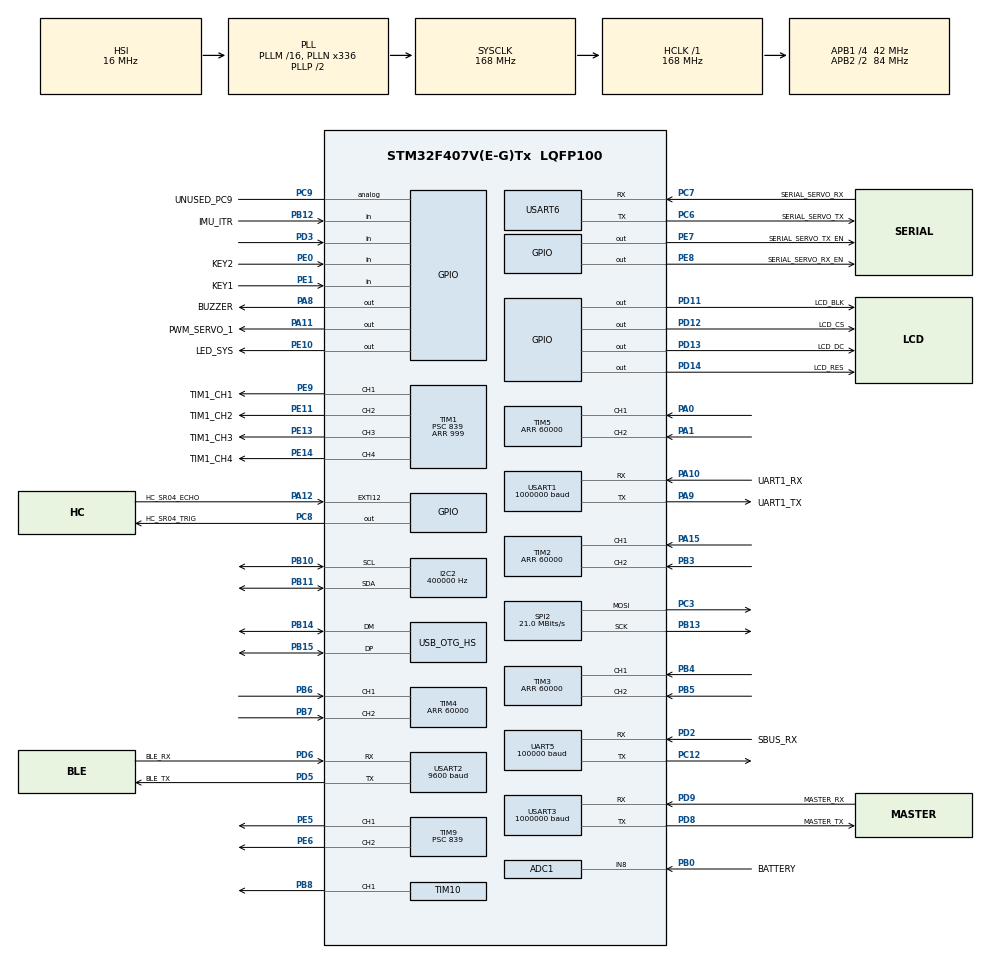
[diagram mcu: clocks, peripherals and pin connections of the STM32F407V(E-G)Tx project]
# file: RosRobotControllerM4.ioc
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ADC1.Channel-4\#ChannelRegularConversion=ADC_CHANNEL_VREFINT
ADC1.Channel-5\#ChannelRegularConversion=ADC_CHANNEL_8
ADC1.ClockPrescaler=ADC_CLOCK_SYNC_PCLK_DIV8
ADC1.ContinuousConvMode=DISABLE
ADC1.EOCSelection=ADC_EOC_SEQ_CONV
ADC1.NbrOfConversion=2
ADC1.NbrOfConversionFlag=1
ADC1.Rank-4\#ChannelRegularConversion=1
ADC1.Rank-5\#ChannelRegularConversion=2
ADC1.SamplingTime-4\#ChannelRegularConversion=ADC_SAMPLETIME_480CYCLES
ADC1.SamplingTime-5\#ChannelRegularConversion=ADC_SAMPLETIME_480CYCLES
ADC1.master=1
Dma.ADC1.6.Direction=DMA_PERIPH_TO_MEMORY
Dma.ADC1.6.FIFOMode=DMA_FIFOMODE_DISABLE
Dma.ADC1.6.Instance=DMA2_Stream0
Dma.ADC1.6.MemDataAlignment=DMA_MDATAALIGN_HALFWORD
Dma.ADC1.6.MemInc=DMA_MINC_ENABLE
Dma.ADC1.6.Mode=DMA_CIRCULAR
Dma.ADC1.6.PeriphDataAlignment=DMA_PDATAALIGN_HALFWORD
Dma.ADC1.6.PeriphInc=DMA_PINC_DISABLE
Dma.ADC1.6.Priority=DMA_PRIORITY_LOW
Dma.I2C2_RX.0.Direction=DMA_PERIPH_TO_MEMORY
Dma.I2C2_RX.0.FIFOMode=DMA_FIFOMODE_DISABLE
Dma.I2C2_RX.0.Instance=DMA1_Stream2
Dma.I2C2_RX.0.MemDataAlignment=DMA_MDATAALIGN_BYTE
Dma.I2C2_RX.0.MemInc=DMA_MINC_ENABLE
Dma.I2C2_RX.0.Mode=DMA_NORMAL
Dma.I2C2_RX.0.PeriphDataAlignment=DMA_PDATAALIGN_BYTE
Dma.I2C2_RX.0.PeriphInc=DMA_PINC_DISABLE
Dma.I2C2_RX.0.Priority=DMA_PRIORITY_VERY_HIGH
Dma.I2C2_TX.1.Direction=DMA_MEMORY_TO_PERIPH
Dma.I2C2_TX.1.FIFOMode=DMA_FIFOMODE_DISABLE
Dma.I2C2_TX.1.Instance=DMA1_Stream7
Dma.I2C2_TX.1.MemDataAlignment=DMA_MDATAALIGN_BYTE
Dma.I2C2_TX.1.MemInc=DMA_MINC_ENABLE
Dma.I2C2_TX.1.Mode=DMA_NORMAL
Dma.I2C2_TX.1.PeriphDataAlignment=DMA_PDATAALIGN_BYTE
Dma.I2C2_TX.1.PeriphInc=DMA_PINC_DISABLE
Dma.I2C2_TX.1.Priority=DMA_PRIORITY_VERY_HIGH
Dma.Request0=I2C2_RX
Dma.Request1=I2C2_TX
Dma.Request2=UART5_RX
Dma.Request3=USART3_RX
Dma.Request4=USART3_TX
Dma.Request5=SPI2_TX
Dma.Request6=ADC1
Dma.Request7=USART1_RX
Dma.Request8=USART1_TX
Dma.SPI2_TX.5.Direction=DMA_MEMORY_TO_PERIPH
Dma.SPI2_TX.5.FIFOMode=DMA_FIFOMODE_DISABLE
Dma.SPI2_TX.5.Instance=DMA1_Stream4
Dma.SPI2_TX.5.MemDataAlignment=DMA_MDATAALIGN_BYTE
Dma.SPI2_TX.5.MemInc=DMA_MINC_ENABLE
Dma.SPI2_TX.5.Mode=DMA_NORMAL
Dma.SPI2_TX.5.PeriphDataAlignment=DMA_PDATAALIGN_BYTE
Dma.SPI2_TX.5.PeriphInc=DMA_PINC_DISABLE
Dma.SPI2_TX.5.Priority=DMA_PRIORITY_LOW
Dma.UART5_RX.2.Direction=DMA_PERIPH_TO_MEMORY
Dma.UART5_RX.2.FIFOMode=DMA_FIFOMODE_DISABLE
Dma.UART5_RX.2.Instance=DMA1_Stream0
Dma.UART5_RX.2.MemDataAlignment=DMA_MDATAALIGN_BYTE
Dma.UART5_RX.2.MemInc=DMA_MINC_ENABLE
Dma.UART5_RX.2.Mode=DMA_CIRCULAR
Dma.UART5_RX.2.PeriphDataAlignment=DMA_PDATAALIGN_BYTE
Dma.UART5_RX.2.PeriphInc=DMA_PINC_DISABLE
Dma.UART5_RX.2.Priority=DMA_PRIORITY_MEDIUM
Dma.USART1_RX.7.Direction=DMA_PERIPH_TO_MEMORY
Dma.USART1_RX.7.FIFOMode=DMA_FIFOMODE_DISABLE
Dma.USART1_RX.7.Instance=DMA2_Stream2
Dma.USART1_RX.7.MemDataAlignment=DMA_MDATAALIGN_BYTE
Dma.USART1_RX.7.MemInc=DMA_MINC_ENABLE
Dma.USART1_RX.7.Mode=DMA_CIRCULAR
Dma.USART1_RX.7.PeriphDataAlignment=DMA_PDATAALIGN_BYTE
Dma.USART1_RX.7.PeriphInc=DMA_PINC_DISABLE
Dma.USART1_RX.7.Priority=DMA_PRIORITY_VERY_HIGH
Dma.USART1_TX.8.Direction=DMA_MEMORY_TO_PERIPH
Dma.USART1_TX.8.FIFOMode=DMA_FIFOMODE_DISABLE
Dma.USART1_TX.8.Instance=DMA2_Stream7
Dma.USART1_TX.8.MemDataAlignment=DMA_MDATAALIGN_BYTE
Dma.USART1_TX.8.MemInc=DMA_MINC_ENABLE
Dma.USART1_TX.8.Mode=DMA_NORMAL
Dma.USART1_TX.8.PeriphDataAlignment=DMA_PDATAALIGN_BYTE
Dma.USART1_TX.8.PeriphInc=DMA_PINC_DISABLE
Dma.USART1_TX.8.Priority=DMA_PRIORITY_HIGH
Dma.USART3_RX.3.Direction=DMA_PERIPH_TO_MEMORY
Dma.USART3_RX.3.FIFOMode=DMA_FIFOMODE_DISABLE
Dma.USART3_RX.3.Instance=DMA1_Stream1
Dma.USART3_RX.3.MemDataAlignment=DMA_MDATAALIGN_BYTE
Dma.USART3_RX.3.MemInc=DMA_MINC_ENABLE
Dma.USART3_RX.3.Mode=DMA_CIRCULAR
Dma.USART3_RX.3.PeriphDataAlignment=DMA_PDATAALIGN_BYTE
Dma.USART3_RX.3.PeriphInc=DMA_PINC_DISABLE
Dma.USART3_RX.3.Priority=DMA_PRIORITY_HIGH
Dma.USART3_TX.4.Direction=DMA_MEMORY_TO_PERIPH
Dma.USART3_TX.4.FIFOMode=DMA_FIFOMODE_DISABLE
Dma.USART3_TX.4.Instance=DMA1_Stream3
Dma.USART3_TX.4.MemDataAlignment=DMA_MDATAALIGN_BYTE
Dma.USART3_TX.4.MemInc=DMA_MINC_ENABLE
Dma.USART3_TX.4.Mode=DMA_NORMAL
Dma.USART3_TX.4.PeriphDataAlignment=DMA_PDATAALIGN_BYTE
Dma.USART3_TX.4.PeriphInc=DMA_PINC_DISABLE
Dma.USART3_TX.4.Priority=DMA_PRIORITY_HIGH
FREERTOS.BinarySemaphores01=packet_tx_idle,Static,packet_tx_ControlBlock;packet_rx_not_empty,Static,packet_rx_not_emptyControlBlock;imu_data_ready,Static,imu_data_readyControlBlock;sbus_data_ready_01_,Static,sbus_data_ready_01_ControlBlock;spi_tx_finished,Static,spi_tx_finishedControlBlock;bluetooth_tx_idle,Static,bluetooth_tx_idleControlBlock
FREERTOS.Events01=sbus_data_ready_event_,Static,sbus_data_ready_event_ControlBlock
FREERTOS.INCLUDE_vTaskCleanUpResources=1
FREERTOS.INCLUDE_xEventGroupSetBitFromISR=1
FREERTOS.Queues01=packet_tx_queue,64,void*,0,Static,packet_tx_queueBuffer,packet_tx_queueControlBlock;lvgl_event_queue,16,void*,0,Static,lvgl_event_queueBuffer,lvgl_event_queueControlBlock;moving_ctrl_queue,32,char,0,Static,moving_ctrl_queueBuffer,moving_ctrl_queueControlBlock;bluetooth_tx_queue,8,8,1,Static,bluetooth_tx_queueBuffer,bluetooth_tx_queueControlBlock
FREERTOS.Tasks01=defaultTask,8,128,StartDefaultTask,Default,NULL,Static,defaultTaskBuffer,defaultTaskControlBlock;imu_task,32,128,imu_task_entry,As weak,NULL,Static,imu_taskBuffer,imu_taskControlBlock;packet_tx_task,24,128,packet_tx_task_entry,As weak,NULL,Static,packet_tx_taskBuffer,packet_tx_taskControlBlock;packet_rx_task,24,256,packet_rx_task_entry,As weak,NULL,Static,packet_rx_taskBuffer,packet_rx_taskControlBlock;sbus_rx_task,24,128,sbus_rx_task_entry,As weak,NULL,Static,sbus_rx_taskBuffer,sbus_rx_taskControlBlock;gui_task,16,512,gui_task_entry,As weak,NULL,Static,gui_taskBuffer,gui_taskControlBlock;app_task,24,512,app_task_entry,As weak,NULL,Static,app_taskBuffer,app_taskControlBlock;bluetooth_task,24,128,bluetooth_task_entry,As weak,NULL,Static,bluetooth_taskBuffer,bluetooth_taskControlBlock
FREERTOS.Timers01=button_timer,button_timer_callback,osTimerPeriodic,As weak,NULL,Static,button_timerControlBlock;led_timer,led_timer_callback,osTimerPeriodic,As weak,NULL,Static,led_timerControlBlock;lvgl_timer,lvgl_timer_callback,osTimerPeriodic,As weak,NULL,Static,lvgl_timerControlBlock;buzzer_timer,buzzer_timer_callback,osTimerPeriodic,As weak,NULL,Static,buzzer_timerControlBlock;battery_check_timer,battery_check_timer_callback,osTimerPeriodic,As weak,NULL,Static,battery_check_timerControlBlock;IMU_read_timer,IMU_read_timer_callback,osTimerPeriodic,As weak,NULL,Static,IMU_read_timerControlBlock
FREERTOS.configENABLE_FPU=1
FREERTOS.configTIMER_QUEUE_LENGTH=10
FREERTOS.configTIMER_TASK_STACK_DEPTH=6144
FREERTOS.configTOTAL_HEAP_SIZE=12288
FREERTOS.configUSE_IDLE_HOOK=1
FREERTOS.configUSE_NEWLIB_REENTRANT=0
FREERTOS.configUSE_TICK_HOOK=1
I2C2.DutyCycle=I2C_DUTYCYCLE_2
I2C2.I2C_Mode=I2C_Fast
I2C2.ClockSpeed=400000
Mcu.Family=STM32F4
Mcu.Name=STM32F407V(E-G)Tx
Mcu.Package=LQFP100
NVIC.DMA1_Stream0_IRQn=true\:5\:0\:false\:true\:true\:1\:true\:false\:true\:true
NVIC.DMA1_Stream1_IRQn=true\:5\:0\:false\:true\:true\:2\:true\:false\:true\:true
NVIC.DMA1_Stream2_IRQn=true\:5\:0\:false\:true\:true\:3\:true\:false\:true\:true
NVIC.DMA1_Stream3_IRQn=true\:5\:0\:false\:true\:true\:4\:true\:false\:true\:true
NVIC.DMA1_Stream4_IRQn=true\:5\:0\:false\:false\:true\:true\:true\:true\:true
NVIC.DMA1_Stream7_IRQn=true\:5\:0\:false\:true\:true\:9\:true\:false\:true\:true
NVIC.DMA2_Stream2_IRQn=true\:5\:0\:false\:false\:true\:true\:true\:true\:true
NVIC.DMA2_Stream7_IRQn=true\:5\:0\:false\:false\:true\:true\:true\:true\:true
NVIC.EXTI15_10_IRQn=true\:5\:0\:false\:true\:true\:7\:true\:true\:false\:true
NVIC.OTG_HS_IRQn=true\:5\:0\:false\:false\:true\:true\:false\:true\:true
NVIC.PriorityGroup=NVIC_PRIORITYGROUP_4
NVIC.TIM2_IRQn=true\:5\:0\:false\:false\:true\:true\:true\:false\:true
NVIC.TIM3_IRQn=true\:5\:0\:false\:false\:true\:true\:true\:false\:true
NVIC.TIM4_IRQn=true\:5\:0\:false\:false\:true\:true\:true\:false\:true
NVIC.TIM5_IRQn=true\:5\:0\:false\:true\:true\:10\:true\:true\:false\:true
NVIC.TIM7_IRQn=true\:5\:0\:false\:true\:true\:12\:true\:true\:false\:true
NVIC.TIM8_BRK_TIM12_IRQn=true\:5\:0\:false\:false\:true\:true\:true\:false\:true
NVIC.TIM1_TRG_COM_TIM11_IRQn=true\:5\:0\:false\:false\:true\:true\:true\:true\:true
NVIC.TIM8_TRG_COM_TIM14_IRQn=true\:15\:0\:false\:false\:true\:false\:false\:true\:true
NVIC.TIM8_UP_TIM13_IRQn=true\:5\:0\:false\:true\:true\:8\:true\:true\:false\:true
NVIC.TimeBase=TIM8_TRG_COM_TIM14_IRQn
NVIC.TimeBaseIP=TIM14
NVIC.UART5_IRQn=true\:5\:0\:true\:true\:true\:11\:true\:true\:true\:true
NVIC.USART1_IRQn=true\:5\:0\:false\:false\:true\:true\:true\:true\:true
NVIC.USART3_IRQn=true\:5\:0\:false\:true\:true\:6\:true\:true\:true\:true
NVIC.USART6_IRQn=true\:5\:0\:false\:true\:true\:13\:true\:true\:true\:true
PA0-WKUP.GPIO_PuPd=GPIO_PULLUP
PA0-WKUP.GPIO_Speed=GPIO_SPEED_FREQ_VERY_HIGH
PA0-WKUP.Signal=S_TIM5_CH1
PA1.GPIO_PuPd=GPIO_PULLUP
PA1.GPIO_Speed=GPIO_SPEED_FREQ_VERY_HIGH
PA1.Signal=S_TIM5_CH2
PA10.GPIO_Label=UART1_RX
PA10.Mode=Asynchronous
PA10.Signal=USART1_RX
PA11.GPIO_Label=PWM_SERVO_1
PA11.GPIO_Speed=GPIO_SPEED_FREQ_HIGH
PA11.PinState=GPIO_PIN_RESET
PA11.Signal=GPIO_Output
PA12.GPIO_Label=HC_SR04_ECHO
PA12.GPIO_ModeDefault=GPIO_MODE_IT_RISING_FALLING
PA12.GPIO_PuPd=GPIO_NOPULL
PA12.GPIO_Speed=GPIO_SPEED_FREQ_HIGH
PA12.Signal=GPIO_EXTI12
PA13.Signal=SYS_JTMS-SWDIO
PA14.Signal=SYS_JTCK-SWCLK
PA15.GPIO_PuPd=GPIO_PULLUP
PA15.GPIO_Speed=GPIO_SPEED_FREQ_VERY_HIGH
PA15.Signal=S_TIM2_CH1_ETR
PA8.GPIO_Label=BUZZER
PA8.GPIO_Speed=GPIO_SPEED_FREQ_VERY_HIGH
PA8.PinState=GPIO_PIN_RESET
PA8.Signal=GPIO_Output
PA9.GPIO_Label=UART1_TX
PA9.Mode=Asynchronous
PA9.Signal=USART1_TX
PB0.GPIO_Label=BATTERY
PB0.Signal=ADCx_IN8
PB10.GPIO_Pu=GPIO_PULLUP
PB10.Mode=I2C
PB10.Signal=I2C2_SCL
PB11.GPIO_Pu=GPIO_PULLUP
PB11.Mode=I2C
PB11.Signal=I2C2_SDA
PB12.GPIO_Label=IMU_ITR
PB12.Signal=GPIO_Input
PB13.Mode=TX_Only_Simplex_Unidirect_Master
PB13.Signal=SPI2_SCK
PB14.Mode=Host_FS
PB14.Signal=USB_OTG_HS_DM
PB15.Mode=Host_FS
PB15.Signal=USB_OTG_HS_DP
PB3.GPIO_PuPd=GPIO_PULLUP
PB3.GPIO_Speed=GPIO_SPEED_FREQ_VERY_HIGH
PB3.Signal=S_TIM2_CH2
PB4.GPIO_Speed=GPIO_SPEED_FREQ_VERY_HIGH
PB4.Signal=S_TIM3_CH1
PB5.GPIO_Speed=GPIO_SPEED_FREQ_VERY_HIGH
PB5.Signal=S_TIM3_CH2
PB6.Signal=S_TIM4_CH1
PB7.Signal=S_TIM4_CH2
PB8.Signal=S_TIM10_CH1
PC12.Mode=Asynchronous
PC12.Signal=UART5_TX
PC3.Mode=TX_Only_Simplex_Unidirect_Master
PC3.Signal=SPI2_MOSI
PC6.GPIO_Label=SERIAL_SERVO_TX
PC6.Mode=Asynchronous
PC6.Signal=USART6_TX
PC7.GPIO_Label=SERIAL_SERVO_RX
PC7.Mode=Asynchronous
PC7.Signal=USART6_RX
PC8.GPIO_Label=HC_SR04_TRIG
PC8.GPIO_Speed=GPIO_SPEED_FREQ_HIGH
PC8.PinState=GPIO_PIN_RESET
PC8.Signal=GPIO_Output
PC9.GPIO_Label=UNUSED_PC9
PC9.Signal=GPIO_Analog
PD11.GPIO_Label=LCD_BLK
PD11.GPIO_Speed=GPIO_SPEED_FREQ_VERY_HIGH
PD11.PinState=GPIO_PIN_SET
PD11.Signal=GPIO_Output
PD12.GPIO_Label=LCD_CS
PD12.GPIO_Speed=GPIO_SPEED_FREQ_VERY_HIGH
PD12.PinState=GPIO_PIN_SET
PD12.Signal=GPIO_Output
PD13.GPIO_Label=LCD_DC
PD13.GPIO_Speed=GPIO_SPEED_FREQ_VERY_HIGH
PD13.Signal=GPIO_Output
PD14.GPIO_Label=LCD_RES
PD14.GPIO_Speed=GPIO_SPEED_FREQ_VERY_HIGH
PD14.PinState=GPIO_PIN_SET
PD14.Signal=GPIO_Output
PD2.GPIO_Label=SBUS_RX
PD2.Mode=Asynchronous
PD2.Signal=UART5_RX
PD3.Signal=GPIO_Input
PD5.GPIO_Label=BLE_TX
PD5.Mode=Asynchronous
PD5.Signal=USART2_TX
PD6.GPIO_Label=BLE_RX
PD6.Mode=Asynchronous
PD6.Signal=USART2_RX
PD8.GPIO_Label=MASTER_TX
PD8.GPIO_PuPd=GPIO_NOPULL
PD8.Mode=Asynchronous
PD8.Signal=USART3_TX
PD9.GPIO_Label=MASTER_RX
PD9.GPIO_PuPd=GPIO_NOPULL
PD9.Mode=Asynchronous
PD9.Signal=USART3_RX
PE0.GPIO_Label=KEY2
PE0.Signal=GPIO_Input
PE1.GPIO_Label=KEY1
PE1.Signal=GPIO_Input
PE10.GPIO_Label=LED_SYS
PE10.GPIO_Speed=GPIO_SPEED_FREQ_MEDIUM
PE10.PinState=GPIO_PIN_SET
PE10.Signal=GPIO_Output
PE11.GPIO_Label=TIM1_CH2
PE11.GPIO_Speed=GPIO_SPEED_FREQ_HIGH
PE11.Signal=S_TIM1_CH2
PE13.GPIO_Label=TIM1_CH3
PE13.GPIO_Speed=GPIO_SPEED_FREQ_HIGH
PE13.Signal=S_TIM1_CH3
PE14.GPIO_Label=TIM1_CH4
PE14.GPIO_Speed=GPIO_SPEED_FREQ_HIGH
PE14.Signal=S_TIM1_CH4
PE5.Signal=S_TIM9_CH1
PE6.Signal=S_TIM9_CH2
PE7.GPIO_Label=SERIAL_SERVO_TX_EN
PE7.GPIO_Speed=GPIO_SPEED_FREQ_VERY_HIGH
PE7.Signal=GPIO_Output
PE8.GPIO_Label=SERIAL_SERVO_RX_EN
PE8.GPIO_Speed=GPIO_SPEED_FREQ_VERY_HIGH
PE8.Signal=GPIO_Output
PE9.GPIO_Label=TIM1_CH1
PE9.GPIO_Speed=GPIO_SPEED_FREQ_HIGH
PE9.Signal=S_TIM1_CH1
PH0-OSC_IN.Mode=HSE-External-Oscillator
PH0-OSC_IN.Signal=RCC_OSC_IN
PH1-OSC_OUT.Mode=HSE-External-Oscillator
PH1-OSC_OUT.Signal=RCC_OSC_OUT
ProjectManager.HeapSize=0x200
ProjectManager.StackSize=0x600
ProjectManager.TargetToolchain=CMake
RCC.48MHZClocksFreq_Value=48000000
RCC.AHBFreq_Value=168000000
RCC.APB1CLKDivider=RCC_HCLK_DIV4
RCC.APB1Freq_Value=42000000
RCC.APB1TimFreq_Value=84000000
RCC.APB2CLKDivider=RCC_HCLK_DIV2
RCC.APB2Freq_Value=84000000
RCC.APB2TimFreq_Value=168000000
RCC.CortexFreq_Value=168000000
RCC.EnbaleCSS=true
RCC.HCLKFreq_Value=168000000
RCC.HSE_VALUE=8000000
RCC.HSI_VALUE=16000000
RCC.LSE_VALUE=32768
RCC.PLLM=4
RCC.PLLN=168
RCC.PLLQ=7
RCC.SYSCLKFreq_VALUE=168000000
RCC.SYSCLKSource=RCC_SYSCLKSOURCE_PLLCLK
RCC.VCOOutputFreq_Value=336000000
SH.ADCx_IN8.0=ADC1_IN8,IN8
SH.S_TIM10_CH1.0=TIM10_CH1,PWM Generation1 CH1
SH.S_TIM1_CH1.0=TIM1_CH1,PWM Generation1 CH1
SH.S_TIM1_CH2.0=TIM1_CH2,PWM Generation2 CH2
SH.S_TIM1_CH3.0=TIM1_CH3,PWM Generation3 CH3
SH.S_TIM1_CH4.0=TIM1_CH4,PWM Generation4 CH4
SH.S_TIM2_CH1_ETR.0=TIM2_CH1,Encoder_Interface
SH.S_TIM2_CH2.0=TIM2_CH2,Encoder_Interface
SH.S_TIM3_CH1.0=TIM3_CH1,Encoder_Interface
SH.S_TIM3_CH2.0=TIM3_CH2,Encoder_Interface
SH.S_TIM4_CH1.0=TIM4_CH1,Encoder_Interface
SH.S_TIM4_CH2.0=TIM4_CH2,Encoder_Interface
SH.S_TIM5_CH1.0=TIM5_CH1,Encoder_Interface
SH.S_TIM5_CH2.0=TIM5_CH2,Encoder_Interface
SH.S_TIM9_CH1.0=TIM9_CH1,PWM Generation1 CH1
SH.S_TIM9_CH2.0=TIM9_CH2,PWM Generation2 CH2
SPI2.BaudRatePrescaler=SPI_BAUDRATEPRESCALER_2
SPI2.CLKPhase=SPI_PHASE_1EDGE
SPI2.CLKPolarity=SPI_POLARITY_LOW
SPI2.CalculateBaudRate=21.0 MBits/s
SPI2.DataSize=SPI_DATASIZE_8BIT
SPI2.Direction=SPI_DIRECTION_2LINES
SPI2.FirstBit=SPI_FIRSTBIT_MSB
SPI2.Mode=SPI_MODE_MASTER
SPI2.VirtualType=VM_MASTER
TIM1.AutoReloadPreload=TIM_AUTORELOAD_PRELOAD_ENABLE
TIM1.Channel-PWM\ Generation1\ CH1=TIM_CHANNEL_1
TIM1.Channel-PWM\ Generation2\ CH2=TIM_CHANNEL_2
TIM1.Channel-PWM\ Generation3\ CH3=TIM_CHANNEL_3
TIM1.Channel-PWM\ Generation4\ CH4=TIM_CHANNEL_4
TIM1.OCFastMode_PWM-PWM\ Generation1\ CH1=TIM_OCFAST_ENABLE
TIM1.OCFastMode_PWM-PWM\ Generation2\ CH2=TIM_OCFAST_ENABLE
TIM1.OCFastMode_PWM-PWM\ Generation3\ CH3=TIM_OCFAST_ENABLE
TIM1.OCFastMode_PWM-PWM\ Generation4\ CH4=TIM_OCFAST_ENABLE
TIM1.Period=999
TIM1.Prescaler=839
TIM1.Pulse-PWM\ Generation1\ CH1=0
TIM1.Pulse-PWM\ Generation2\ CH2=0
TIM1.Pulse-PWM\ Generation3\ CH3=0
TIM1.Pulse-PWM\ Generation4\ CH4=0
TIM10.AutoReloadPreload=TIM_AUTORELOAD_PRELOAD_ENABLE
TIM10.Channel=TIM_CHANNEL_1
TIM10.OCFastMode_PWM=TIM_OCFAST_ENABLE
TIM10.Period=999
TIM10.Prescaler=839
TIM11.AutoReloadPreload=TIM_AUTORELOAD_PRELOAD_ENABLE
TIM11.Channel=TIM_CHANNEL_1
TIM11.OCFastMode_PWM=TIM_OCFAST_ENABLE
TIM11.Period=999
TIM11.Prescaler=839
TIM11.Pulse=0
TIM12.AutoReloadPreload=TIM_AUTORELOAD_PRELOAD_ENABLE
TIM12.Channel-Output\ Compare1\ No\ Output=TIM_CHANNEL_1
TIM12.OC1Preload=ENABLE
TIM12.OCMode_1=TIM_OCMODE_TIMING
TIM12.Period=99
TIM12.Prescaler=839
TIM12.Pulse-Output\ Compare1\ No\ Output=50
TIM13.AutoReloadPreload=TIM_AUTORELOAD_PRELOAD_ENABLE
TIM13.Channel=TIM_CHANNEL_1
TIM13.OC1Preload=ENABLE
TIM13.Period=4999
TIM13.Prescaler=83
TIM13.Pulse=0
TIM2.AutoReloadPreload=TIM_AUTORELOAD_PRELOAD_ENABLE
TIM2.EncoderMode=TIM_ENCODERMODE_TI12
TIM2.Period=60000
TIM3.AutoReloadPreload=TIM_AUTORELOAD_PRELOAD_ENABLE
TIM3.EncoderMode=TIM_ENCODERMODE_TI12
TIM3.Period=60000
TIM4.AutoReloadPreload=TIM_AUTORELOAD_PRELOAD_ENABLE
TIM4.EncoderMode=TIM_ENCODERMODE_TI12
TIM4.Period=60000
TIM5.AutoReloadPreload=TIM_AUTORELOAD_PRELOAD_ENABLE
TIM5.EncoderMode=TIM_ENCODERMODE_TI12
TIM5.Period=60000
TIM7.AutoReloadPreload=TIM_AUTORELOAD_PRELOAD_ENABLE
TIM7.Period=9999
TIM7.Prescaler=83
TIM9.AutoReloadPreload=TIM_AUTORELOAD_PRELOAD_ENABLE
TIM9.Channel-PWM\ Generation1\ CH1=TIM_CHANNEL_1
TIM9.Channel-PWM\ Generation2\ CH2=TIM_CHANNEL_2
TIM9.OCFastMode_PWM-PWM\ Generation1\ CH1=TIM_OCFAST_ENABLE
TIM9.OCFastMode_PWM-PWM\ Generation2\ CH2=TIM_OCFAST_ENABLE
TIM9.Period=999
TIM9.Prescaler=839
UART5.BaudRate=100000
UART5.Mode=MODE_RX
UART5.Parity=PARITY_EVEN
UART5.StopBits=UART_STOPBITS_2
UART5.VirtualMode=Asynchronous
UART5.WordLength=WORDLENGTH_9B
USART1.BaudRate=1000000
USART1.VirtualMode=VM_ASYNC
USART2.BaudRate=9600
USART2.VirtualMode=VM_ASYNC
USART3.BaudRate=1000000
USART3.VirtualMode=VM_ASYNC
USART6.VirtualMode=VM_ASYNC
USB_DEVICE.CLASS_NAME_HS=CDC
USB_DEVICE.VirtualMode-CDC_HS=Cdc
USB_DEVICE.VirtualModeHS=Cdc_HS
USB_OTG_HS.VirtualMode-Device_Only_FS=Device_Only_FS
VP_ADC1_Vref_Input.Mode=IN-Vrefint
VP_CRC_VS_CRC.Mode=CRC_Activate
VP_FREERTOS_VS_CMSIS_V2.Mode=CMSIS_V2
VP_SYS_VS_tim14.Mode=TIM14
VP_TIM10_VS_ClockSourceINT.Mode=Enable_Timer
VP_TIM11_VS_ClockSourceINT.Mode=Enable_Timer
VP_TIM12_VS_ClockSourceINT.Mode=Internal
VP_TIM12_VS_no_output1.Mode=Output Compare1 No Output
VP_TIM13_VS_ClockSourceINT.Mode=Enable_Timer
VP_TIM13_VS_no_output1.Mode=Output Compare1 No Output
VP_TIM1_VS_ClockSourceINT.Mode=Internal
VP_TIM7_VS_ClockSourceINT.Mode=Enable_Timer
VP_TIM9_VS_ClockSourceINT.Mode=Internal
VP_USB_DEVICE_VS_USB_DEVICE_CDC_HS.Mode=CDC_HS
board=custom

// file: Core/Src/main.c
/* USER CODE BEGIN Header */
/**
  ******************************************************************************
  * @file           : main.c
  * @brief          : Main program body
  ******************************************************************************
  * @attention
  *
  * Copyright (c) 2026 STMicroelectronics.
  * All rights reserved.
  *
  * This software is licensed under terms that can be found in the LICENSE file
  * in the root directory of this software component.
  * If no LICENSE file comes with this software, it is provided AS-IS.
  *
  ******************************************************************************
  */
/* USER CODE END Header */
#include "main.h"
#include "cmsis_os.h"
#include "adc.h"
#include "crc.h"
#include "dma.h"
#include "i2c.h"
#include "spi.h"
#include "tim.h"
#include "usart.h"
#include "gpio.h"
#include "usb_device.h"

/* USER CODE BEGIN Includes */
#include "uart_binary_protocol_integration_packed.h"
#include "sg90_servo.h"
/* USER CODE END Includes */

/* USER CODE BEGIN PV */
extern UART_HandleTypeDef huart1;
extern UART_HandleTypeDef huart6;

/* Telemetry builds a short frame on the protocol task stack.  The previous
 * 1 KiB stack was exhausted as soon as the burst path and UART HAL call ran,
 * leaving the motor link alive long enough to accept commands but silently
 * stopping sensor telemetry. */
static uint32_t protocol_task_stack[1024];
static StaticTask_t protocol_task_control_block;
static const osThreadAttr_t protocol_task_attributes = {
  .name = "protocol_task",
  .cb_mem = &protocol_task_control_block,
  .cb_size = sizeof(protocol_task_control_block),
  .stack_mem = &protocol_task_stack[0],
  .stack_size = sizeof(protocol_task_stack),
  .priority = (osPriority_t)osPriorityNormal,
};
/* USER CODE END PV */

void SystemClock_Config(void);
void MX_FREERTOS_Init(void);

int main(void)
{

  /* MCU Configuration--------------------------------------------------------*/

  /* Reset of all peripherals, Initializes the Flash interface and the Systick. */
  HAL_Init();

  /* Configure the system clock */
  SystemClock_Config();

  /* SystemInit deliberately masks interrupts while it clears inherited NVIC
   * state.  The motor image does not need the legacy USB-CDC device, and the
   * USB stack performs short HAL_Delay() calls during enumeration setup.
   * Enable the clean timebase before the remaining peripheral bring-up. */
  __enable_irq();

  /* The Rock64 link is the Hiwonder WCH USB-UART bridge on product UART1:
   * USART1 PA9/PA10 at 1 Mbaud. USART3 is the factory pair; USART2 is BLE. */
  MX_GPIO_Init();
  MX_DMA_Init();
  MX_USART1_UART_Init();
  MX_SPI2_Init();
  MX_TIM1_Init();
  MX_TIM2_Init();
  MX_TIM5_Init();
  MX_TIM7_Init();
  MX_TIM9_Init();
  MX_TIM10_Init();
  MX_TIM11_Init();
  MX_I2C2_Init();
  MX_UART5_Init();
  MX_USART2_UART_Init();
  MX_USART3_UART_Init();
  MX_USART6_UART_Init();
  MX_TIM3_Init();
  MX_TIM4_Init();
  MX_TIM12_Init();
  MX_TIM13_Init();
  MX_ADC1_Init();
  MX_CRC_Init();
  /* The Rock64 motor link is the WCH UART1 connector.  Do not initialize the
   * legacy OTG-HS CDC stack here: on this controller it is not wired into the
   * host path and its startup delay can deadlock while no USB device exists. */

  /* The custom motor protocol owns its 100 Hz update loop.  TIM7 is a
   * legacy speed-measurement timer and has no registered HAL callback in
   * this image.  NRST is not wired on the bench board, so an SWD-launched
   * image can inherit a stale TIM7 enable/pending bit from the previous
   * image; leave the legacy interrupt disabled before global IRQ enable. */
  HAL_NVIC_DisableIRQ(TIM7_IRQn);
  __HAL_TIM_DISABLE_IT(&htim7, TIM_IT_UPDATE);
  __HAL_TIM_CLEAR_IT(&htim7, TIM_IT_UPDATE);

  osKernelInitialize();
  MX_FREERTOS_Init();
  if (osThreadNew(binary_protocol_task, NULL, &protocol_task_attributes) == NULL) {
    Error_Handler();
  }
  osKernelStart();

  /* The scheduler owns the application after osKernelStart(). */
  for (;;) {
  }
}

void SystemClock_Config(void)
{
  RCC_OscInitTypeDef RCC_OscInitStruct = {0};
  RCC_ClkInitTypeDef RCC_ClkInitStruct = {0};

  /** Configure the main internal regulator output voltage
  */
  __HAL_RCC_PWR_CLK_ENABLE();
  __HAL_PWR_VOLTAGESCALING_CONFIG(PWR_REGULATOR_VOLTAGE_SCALE1);

  /** Initializes the RCC Oscillators according to the specified parameters
  * in the RCC_OscInitTypeDef structure.
  */
  /* Use the STM32F407 internal HSI clock.  The Rock64 motor-controller board
   * does not reliably provide the external HSE oscillator at boot; a failed
   * HSE startup traps here before USART1 can service the Rock64 link.  HSI
   * 16 MHz -> 168 MHz SYSCLK keeps APB1=42 MHz and APB2=84 MHz, so the UART
   * baud-rate divisors, motor timers, and FreeRTOS timebase remain stable. */
  RCC_OscInitStruct.OscillatorType = RCC_OSCILLATORTYPE_HSI;
  RCC_OscInitStruct.HSIState = RCC_HSI_ON;
  RCC_OscInitStruct.HSICalibrationValue = RCC_HSICALIBRATION_DEFAULT;
  RCC_OscInitStruct.PLL.PLLState = RCC_PLL_ON;
  RCC_OscInitStruct.PLL.PLLSource = RCC_PLLSOURCE_HSI;
  RCC_OscInitStruct.PLL.PLLM = 16;
  RCC_OscInitStruct.PLL.PLLN = 336;
  RCC_OscInitStruct.PLL.PLLP = RCC_PLLP_DIV2;
  RCC_OscInitStruct.PLL.PLLQ = 7;
  if (HAL_RCC_OscConfig(&RCC_OscInitStruct) != HAL_OK)
  {
    Error_Handler();
  }

  /** Initializes the CPU, AHB and APB buses clocks
  */
  RCC_ClkInitStruct.ClockType = RCC_CLOCKTYPE_HCLK|RCC_CLOCKTYPE_SYSCLK
                              |RCC_CLOCKTYPE_PCLK1|RCC_CLOCKTYPE_PCLK2;
  RCC_ClkInitStruct.SYSCLKSource = RCC_SYSCLKSOURCE_PLLCLK;
  RCC_ClkInitStruct.AHBCLKDivider = RCC_SYSCLK_DIV1;
  RCC_ClkInitStruct.APB1CLKDivider = RCC_HCLK_DIV4;
  RCC_ClkInitStruct.APB2CLKDivider = RCC_HCLK_DIV2;

  if (HAL_RCC_ClockConfig(&RCC_ClkInitStruct, FLASH_LATENCY_5) != HAL_OK)
  {
    Error_Handler();
  }

  /** Enables the Clock Security System
  */
  HAL_RCC_EnableCSS();
}

void HAL_TIM_PeriodElapsedCallback(TIM_HandleTypeDef *htim)
{
  /* The project uses the HAL default (USE_HAL_TIM_REGISTER_CALLBACKS=0), so
   * HAL_TIM_RegisterCallback() in the custom TIM14 timebase is not the path
   * used by HAL_TIM_IRQHandler().  Without handling TIM14 here, uwTick stays
   * at zero even though the timer and IRQ are active.  That freezes every
   * HAL_GetTick()-based services and protocol telemetry. When callback
   * registration is enabled, HAL dispatches
   * TimeBase_TIM_PeriodElapsedCallback() directly instead and this callback is
   * not entered, so this remains safe in either configuration. */
  if (htim->Instance == TIM14) {
    HAL_IncTick();
    return;
  }
  if (htim == &htim13) {
    SG90Servo_PeriodElapsedCallback();
    return;
  }
  /* PA8 is a plain GPIO in this production image. TIM12 supplies the
   * half-period callbacks used to generate the buzzer square wave. */
  if (htim == &htim12) {
    HAL_GPIO_WritePin(BUZZER_GPIO_Port, BUZZER_Pin, GPIO_PIN_SET);
    HAL_GPIO_WritePin(BUZZER_ALT_GPIO_Port, BUZZER_ALT_Pin, GPIO_PIN_SET);
  }
}

/**
  * @brief  Output-compare callback used for the buzzer falling edge.
  * @param  htim : TIM handle
  * @retval None
  */
void HAL_TIM_OC_DelayElapsedCallback(TIM_HandleTypeDef *htim)
{
  if (htim == &htim13) {
    SG90Servo_PulseElapsedCallback();
    return;
  }
  /* TIM12 is configured as a half-period timer for the PA8 buzzer.  The
   * update event starts each cycle high; CC1 ends the high half-cycle. */
  if (htim == &htim12) {
    HAL_GPIO_WritePin(BUZZER_GPIO_Port, BUZZER_Pin, GPIO_PIN_RESET);
    HAL_GPIO_WritePin(BUZZER_ALT_GPIO_Port, BUZZER_ALT_Pin, GPIO_PIN_RESET);
  }
}

void Error_Handler(void)
{
  __disable_irq();
  while (1)
  {
  }
}

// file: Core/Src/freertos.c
/* USER CODE BEGIN Header */
/**
  ******************************************************************************
  * File Name          : freertos.c
  * Description        : Code for freertos applications
  ******************************************************************************
  * @attention
  *
  * Copyright (c) 2026 STMicroelectronics.
  * All rights reserved.
  *
  * This software is licensed under terms that can be found in the LICENSE file
  * in the root directory of this software component.
  * If no LICENSE file comes with this software, it is provided AS-IS.
  *
  ******************************************************************************
  */
/* USER CODE END Header */

#include "FreeRTOS.h"
#include "task.h"
#include "main.h"
#include "cmsis_os.h"
#include "usbd_cdc_if.h"

/* USER CODE BEGIN Includes */
#include "imu_integration.h"
#include "battery_integration.h"
#include "status_integration.h"
/* USER CODE END Includes */

typedef StaticTask_t osStaticThreadDef_t;
typedef StaticQueue_t osStaticMessageQDef_t;
typedef StaticTimer_t osStaticTimerDef_t;
typedef StaticEventGroup_t osStaticEventGroupDef_t;

/* Definitions for defaultTask */
osThreadId_t defaultTaskHandle;
uint32_t defaultTaskBuffer[ 128 ];
osStaticThreadDef_t defaultTaskControlBlock;
const osThreadAttr_t defaultTask_attributes = {
  .name = "defaultTask",
  .cb_mem = &defaultTaskControlBlock,
  .cb_size = sizeof(defaultTaskControlBlock),
  .stack_mem = &defaultTaskBuffer[0],
  .stack_size = sizeof(defaultTaskBuffer),
  .priority = (osPriority_t) osPriorityLow,
};
/* Definitions for imu_task */
osThreadId_t imu_taskHandle;
uint32_t imu_taskBuffer[ 128 ];
osStaticThreadDef_t imu_taskControlBlock;
const osThreadAttr_t imu_task_attributes = {
  .name = "imu_task",
  .cb_mem = &imu_taskControlBlock,
  .cb_size = sizeof(imu_taskControlBlock),
  .stack_mem = &imu_taskBuffer[0],
  .stack_size = sizeof(imu_taskBuffer),
  .priority = (osPriority_t) osPriorityAboveNormal,
};
/* Definitions for packet_tx_task */
osThreadId_t packet_tx_taskHandle;
uint32_t packet_tx_taskBuffer[ 128 ];
osStaticThreadDef_t packet_tx_taskControlBlock;
const osThreadAttr_t packet_tx_task_attributes = {
  .name = "packet_tx_task",
  .cb_mem = &packet_tx_taskControlBlock,
  .cb_size = sizeof(packet_tx_taskControlBlock),
  .stack_mem = &packet_tx_taskBuffer[0],
  .stack_size = sizeof(packet_tx_taskBuffer),
  .priority = (osPriority_t) osPriorityNormal,
};
/* Definitions for packet_rx_task */
osThreadId_t packet_rx_taskHandle;
uint32_t packet_rx_taskBuffer[ 256 ];
osStaticThreadDef_t packet_rx_taskControlBlock;
const osThreadAttr_t packet_rx_task_attributes = {
  .name = "packet_rx_task",
  .cb_mem = &packet_rx_taskControlBlock,
  .cb_size = sizeof(packet_rx_taskControlBlock),
  .stack_mem = &packet_rx_taskBuffer[0],
  .stack_size = sizeof(packet_rx_taskBuffer),
  .priority = (osPriority_t) osPriorityNormal,
};
/* Definitions for sbus_rx_task */
osThreadId_t sbus_rx_taskHandle;
uint32_t sbus_rx_taskBuffer[ 128 ];
osStaticThreadDef_t sbus_rx_taskControlBlock;
const osThreadAttr_t sbus_rx_task_attributes = {
  .name = "sbus_rx_task",
  .cb_mem = &sbus_rx_taskControlBlock,
  .cb_size = sizeof(sbus_rx_taskControlBlock),
  .stack_mem = &sbus_rx_taskBuffer[0],
  .stack_size = sizeof(sbus_rx_taskBuffer),
  .priority = (osPriority_t) osPriorityNormal,
};
/* Definitions for gui_task */
osThreadId_t gui_taskHandle;
uint32_t gui_taskBuffer[ 512 ];
osStaticThreadDef_t gui_taskControlBlock;
const osThreadAttr_t gui_task_attributes = {
  .name = "gui_task",
  .cb_mem = &gui_taskControlBlock,
  .cb_size = sizeof(gui_taskControlBlock),
  .stack_mem = &gui_taskBuffer[0],
  .stack_size = sizeof(gui_taskBuffer),
  .priority = (osPriority_t) osPriorityBelowNormal,
};
/* Definitions for app_task */
osThreadId_t app_taskHandle;
uint32_t app_taskBuffer[ 512 ];
osStaticThreadDef_t app_taskControlBlock;
const osThreadAttr_t app_task_attributes = {
  .name = "app_task",
  .cb_mem = &app_taskControlBlock,
  .cb_size = sizeof(app_taskControlBlock),
  .stack_mem = &app_taskBuffer[0],
  .stack_size = sizeof(app_taskBuffer),
  .priority = (osPriority_t) osPriorityNormal,
};
/* Definitions for bluetooth_task */
osThreadId_t bluetooth_taskHandle;
uint32_t bluetooth_taskBuffer[ 128 ];
osStaticThreadDef_t bluetooth_taskControlBlock;
const osThreadAttr_t bluetooth_task_attributes = {
  .name = "bluetooth_task",
  .cb_mem = &bluetooth_taskControlBlock,
  .cb_size = sizeof(bluetooth_taskControlBlock),
  .stack_mem = &bluetooth_taskBuffer[0],
  .stack_size = sizeof(bluetooth_taskBuffer),
  .priority = (osPriority_t) osPriorityNormal,
};
/* Definitions for packet_tx_queue */
osMessageQueueId_t packet_tx_queueHandle;
uint8_t packet_tx_queueBuffer[ 64 * sizeof( void* ) ];
osStaticMessageQDef_t packet_tx_queueControlBlock;
const osMessageQueueAttr_t packet_tx_queue_attributes = {
  .name = "packet_tx_queue",
  .cb_mem = &packet_tx_queueControlBlock,
  .cb_size = sizeof(packet_tx_queueControlBlock),
  .mq_mem = &packet_tx_queueBuffer,
  .mq_size = sizeof(packet_tx_queueBuffer)
};
/* Definitions for lvgl_event_queue */
osMessageQueueId_t lvgl_event_queueHandle;
uint8_t lvgl_event_queueBuffer[ 16 * sizeof( void* ) ];
osStaticMessageQDef_t lvgl_event_queueControlBlock;
const osMessageQueueAttr_t lvgl_event_queue_attributes = {
  .name = "lvgl_event_queue",
  .cb_mem = &lvgl_event_queueControlBlock,
  .cb_size = sizeof(lvgl_event_queueControlBlock),
  .mq_mem = &lvgl_event_queueBuffer,
  .mq_size = sizeof(lvgl_event_queueBuffer)
};
/* Definitions for moving_ctrl_queue */
osMessageQueueId_t moving_ctrl_queueHandle;
uint8_t moving_ctrl_queueBuffer[ 32 * sizeof( char ) ];
osStaticMessageQDef_t moving_ctrl_queueControlBlock;
const osMessageQueueAttr_t moving_ctrl_queue_attributes = {
  .name = "moving_ctrl_queue",
  .cb_mem = &moving_ctrl_queueControlBlock,
  .cb_size = sizeof(moving_ctrl_queueControlBlock),
  .mq_mem = &moving_ctrl_queueBuffer,
  .mq_size = sizeof(moving_ctrl_queueBuffer)
};
/* Definitions for bluetooth_tx_queue */
osMessageQueueId_t bluetooth_tx_queueHandle;
uint8_t bluetooth_tx_queueBuffer[ 8 * 8 ];
osStaticMessageQDef_t bluetooth_tx_queueControlBlock;
const osMessageQueueAttr_t bluetooth_tx_queue_attributes = {
  .name = "bluetooth_tx_queue",
  .cb_mem = &bluetooth_tx_queueControlBlock,
  .cb_size = sizeof(bluetooth_tx_queueControlBlock),
  .mq_mem = &bluetooth_tx_queueBuffer,
  .mq_size = sizeof(bluetooth_tx_queueBuffer)
};
/* Definitions for button_timer */
osTimerId_t button_timerHandle;
osStaticTimerDef_t button_timerControlBlock;
const osTimerAttr_t button_timer_attributes = {
  .name = "button_timer",
  .cb_mem = &button_timerControlBlock,
  .cb_size = sizeof(button_timerControlBlock),
};
/* Definitions for led_timer */
osTimerId_t led_timerHandle;
osStaticTimerDef_t led_timerControlBlock;
const osTimerAttr_t led_timer_attributes = {
  .name = "led_timer",
  .cb_mem = &led_timerControlBlock,
  .cb_size = sizeof(led_timerControlBlock),
};
/* Definitions for lvgl_timer */
osTimerId_t lvgl_timerHandle;
osStaticTimerDef_t lvgl_timerControlBlock;
const osTimerAttr_t lvgl_timer_attributes = {
  .name = "lvgl_timer",
  .cb_mem = &lvgl_timerControlBlock,
  .cb_size = sizeof(lvgl_timerControlBlock),
};
/* Definitions for buzzer_timer */
osTimerId_t buzzer_timerHandle;
osStaticTimerDef_t buzzer_timerControlBlock;
const osTimerAttr_t buzzer_timer_attributes = {
  .name = "buzzer_timer",
  .cb_mem = &buzzer_timerControlBlock,
  .cb_size = sizeof(buzzer_timerControlBlock),
};
/* Definitions for battery_check_timer */
osTimerId_t battery_check_timerHandle;
osStaticTimerDef_t battery_check_timerControlBlock;
const osTimerAttr_t battery_check_timer_attributes = {
  .name = "battery_check_timer",
  .cb_mem = &battery_check_timerControlBlock,
  .cb_size = sizeof(battery_check_timerControlBlock),
};
/* Definitions for IMU_read_timer */
osTimerId_t IMU_read_timerHandle;
osStaticTimerDef_t IMU_read_timerControlBlock;
const osTimerAttr_t IMU_read_timer_attributes = {
  .name = "IMU_read_timer",
  .cb_mem = &IMU_read_timerControlBlock,
  .cb_size = sizeof(IMU_read_timerControlBlock),
};
/* Definitions for packet_tx_idle */
osSemaphoreId_t packet_tx_idleHandle;
const osSemaphoreAttr_t packet_tx_idle_attributes = {
  .name = "packet_tx_idle"
};
/* Definitions for packet_rx_not_empty */
osSemaphoreId_t packet_rx_not_emptyHandle;
const osSemaphoreAttr_t packet_rx_not_empty_attributes = {
  .name = "packet_rx_not_empty"
};
/* Definitions for imu_data_ready (reserved for the QMI8658 EXTI line). */
osSemaphoreId_t imu_data_readyHandle;
const osSemaphoreAttr_t imu_data_ready_attributes = {
  .name = "imu_data_ready"
};
/* Definitions for sbus_data_ready_01_ */
osSemaphoreId_t sbus_data_ready_01_Handle;
const osSemaphoreAttr_t sbus_data_ready_01__attributes = {
  .name = "sbus_data_ready_01_"
};
/* Definitions for spi_tx_finished */
osSemaphoreId_t spi_tx_finishedHandle;
const osSemaphoreAttr_t spi_tx_finished_attributes = {
  .name = "spi_tx_finished"
};
/* Definitions for bluetooth_tx_idle */
osSemaphoreId_t bluetooth_tx_idleHandle;
const osSemaphoreAttr_t bluetooth_tx_idle_attributes = {
  .name = "bluetooth_tx_idle"
};
/* Definitions for sbus_data_ready_event_ */
osEventFlagsId_t sbus_data_ready_event_Handle;
osStaticEventGroupDef_t sbus_data_ready_event_ControlBlock;
const osEventFlagsAttr_t sbus_data_ready_event__attributes = {
  .name = "sbus_data_ready_event_",
  .cb_mem = &sbus_data_ready_event_ControlBlock,
  .cb_size = sizeof(sbus_data_ready_event_ControlBlock),
};

void StartDefaultTask(void *argument);
void imu_task_entry(void *argument);
void packet_tx_task_entry(void *argument);
void packet_rx_task_entry(void *argument);
void sbus_rx_task_entry(void *argument);
void gui_task_entry(void *argument);
void app_task_entry(void *argument);
void bluetooth_task_entry(void *argument);
void button_timer_callback(void *argument);
void led_timer_callback(void *argument);
void lvgl_timer_callback(void *argument);
void buzzer_timer_callback(void *argument);
void battery_check_timer_callback(void *argument);
void IMU_read_timer_callback(void *argument);

extern void MX_USB_DEVICE_Init(void);
void MX_FREERTOS_Init(void); /* (MISRA C 2004 rule 8.1) */

/* Hook prototypes */
void vApplicationIdleHook(void);
void vApplicationTickHook(void);

/* USER CODE BEGIN 2 */
void vApplicationIdleHook( void )
{
   /* vApplicationIdleHook() will only be called if configUSE_IDLE_HOOK is set
   to 1 in FreeRTOSConfig.h. It will be called on each iteration of the idle
   task. It is essential that code added to this hook function never attempts
   to block in any way (for example, call xQueueReceive() with a block time
   specified, or call vTaskDelay()). If the application makes use of the
   vTaskDelete() API function (as this demo application does) then it is also
   important that vApplicationIdleHook() is permitted to return to its calling
   function, because it is the responsibility of the idle task to clean up
   memory allocated by the kernel to any task that has since been deleted. */
}
/* USER CODE END 2 */

/* USER CODE BEGIN 3 */
void vApplicationTickHook( void )
{
   /* This function will be called by each tick interrupt if
   configUSE_TICK_HOOK is set to 1 in FreeRTOSConfig.h. User code can be
   added here, but the tick hook is called from an interrupt context, so
   code must not attempt to block, and only the interrupt safe FreeRTOS API
   functions can be used (those that end in FromISR()). */
}
/* USER CODE END 3 */

void MX_FREERTOS_Init(void) {

  /* Create the semaphores(s) */
  /* creation of packet_tx_idle */
  packet_tx_idleHandle = osSemaphoreNew(1, 1, &packet_tx_idle_attributes);

  /* creation of packet_rx_not_empty */
  packet_rx_not_emptyHandle = osSemaphoreNew(1, 1, &packet_rx_not_empty_attributes);

  /* creation of imu_data_ready */
  imu_data_readyHandle = osSemaphoreNew(1, 1, &imu_data_ready_attributes);

  /* creation of sbus_data_ready_01_ */
  sbus_data_ready_01_Handle = osSemaphoreNew(1, 1, &sbus_data_ready_01__attributes);

  /* creation of spi_tx_finished */
  spi_tx_finishedHandle = osSemaphoreNew(1, 1, &spi_tx_finished_attributes);

  /* creation of bluetooth_tx_idle */
  bluetooth_tx_idleHandle = osSemaphoreNew(1, 1, &bluetooth_tx_idle_attributes);

  /* Create the timer(s) */
  /* creation of button_timer */
  button_timerHandle = osTimerNew(button_timer_callback, osTimerPeriodic, NULL, &button_timer_attributes);

  /* creation of led_timer */
  led_timerHandle = osTimerNew(led_timer_callback, osTimerPeriodic, NULL, &led_timer_attributes);

  /* creation of lvgl_timer */
  lvgl_timerHandle = osTimerNew(lvgl_timer_callback, osTimerPeriodic, NULL, &lvgl_timer_attributes);

  /* creation of buzzer_timer */
  buzzer_timerHandle = osTimerNew(buzzer_timer_callback, osTimerPeriodic, NULL, &buzzer_timer_attributes);

  /* creation of battery_check_timer */
  battery_check_timerHandle = osTimerNew(battery_check_timer_callback, osTimerPeriodic, NULL, &battery_check_timer_attributes);

  /* creation of IMU_read_timer */
  IMU_read_timerHandle = osTimerNew(IMU_read_timer_callback, osTimerPeriodic, NULL, &IMU_read_timer_attributes);

  /* Create the queue(s) */
  /* creation of packet_tx_queue */
  packet_tx_queueHandle = osMessageQueueNew (64, sizeof(void*), &packet_tx_queue_attributes);

  /* creation of lvgl_event_queue */
  lvgl_event_queueHandle = osMessageQueueNew (16, sizeof(void*), &lvgl_event_queue_attributes);

  /* creation of moving_ctrl_queue */
  moving_ctrl_queueHandle = osMessageQueueNew (32, sizeof(char), &moving_ctrl_queue_attributes);

  /* creation of bluetooth_tx_queue */
  bluetooth_tx_queueHandle = osMessageQueueNew (8, 8, &bluetooth_tx_queue_attributes);

  /* Create the thread(s) */
  /* creation of defaultTask */
  defaultTaskHandle = osThreadNew(StartDefaultTask, NULL, &defaultTask_attributes);

  /* creation of imu_task */
  imu_taskHandle = osThreadNew(imu_task_entry, NULL, &imu_task_attributes);

  /* creation of packet_tx_task */
  packet_tx_taskHandle = osThreadNew(packet_tx_task_entry, NULL, &packet_tx_task_attributes);

  /* creation of packet_rx_task */
  packet_rx_taskHandle = osThreadNew(packet_rx_task_entry, NULL, &packet_rx_task_attributes);

  /* creation of sbus_rx_task */
  sbus_rx_taskHandle = osThreadNew(sbus_rx_task_entry, NULL, &sbus_rx_task_attributes);

  /* creation of gui_task */
  gui_taskHandle = osThreadNew(gui_task_entry, NULL, &gui_task_attributes);

  /* creation of app_task */
  app_taskHandle = osThreadNew(app_task_entry, NULL, &app_task_attributes);

  /* creation of bluetooth_task */
  bluetooth_taskHandle = osThreadNew(bluetooth_task_entry, NULL, &bluetooth_task_attributes);

  /* Create the event(s) */
  /* creation of sbus_data_ready_event_ */
  sbus_data_ready_event_Handle = osEventFlagsNew(&sbus_data_ready_event__attributes);

}

void StartDefaultTask(void *argument)
{
  /* USER CODE BEGIN StartDefaultTask */
  /* Infinite loop */
  for(;;)
  {
    USB_PingPong_Process();
    osDelay(1);
  }
  /* USER CODE END StartDefaultTask */
}

__weak void imu_task_entry(void *argument)
{
  /* USER CODE BEGIN imu_task_entry */
  (void)argument;
  /* IMU sampling is owned by binary_protocol_telemetry_task().  The old
   * generated task also called IMU_Update(), discarded its result, and raced
   * the telemetry task's 50 Hz rate limiter.  That left the UART telemetry
   * frame at zero even when the QMI8658 was responding. Keep the generated
   * task alive for CubeMX/FreeRTOS compatibility, but do not read the sensor
   * from a second task. */
  for(;;)
  {
    osDelay(1000);
  }
  /* USER CODE END imu_task_entry */
}

__weak void packet_tx_task_entry(void *argument)
{
  for(;;)
  {
    osDelay(1);
  }
}

__weak void packet_rx_task_entry(void *argument)
{
  for(;;)
  {
    osDelay(1);
  }
}

__weak void sbus_rx_task_entry(void *argument)
{
  for(;;)
  {
    osDelay(1);
  }
}

__weak void gui_task_entry(void *argument)
{
  for(;;)
  {
    osDelay(1);
  }
}

__weak void app_task_entry(void *argument)
{
  /* USER CODE BEGIN app_task_entry */
  /* Infinite loop */
  for(;;)
  {
    osDelay(20);
  }
  /* USER CODE END app_task_entry */
}

__weak void bluetooth_task_entry(void *argument)
{
  for(;;)
  {
    osDelay(1);
  }
}

/* button_timer_callback function */
__weak void button_timer_callback(void *argument)
{
}

/* led_timer_callback function */
__weak void led_timer_callback(void *argument)
{
}

/* lvgl_timer_callback function */
__weak void lvgl_timer_callback(void *argument)
{
}

/* buzzer_timer_callback function */
__weak void buzzer_timer_callback(void *argument)
{
}

/* battery_check_timer_callback function */
__weak void battery_check_timer_callback(void *argument)
{
  /* USER CODE BEGIN battery_check_timer_callback */
  /* Battery_Init is intentionally not called by the current motor-only
   * production image, and the protocol reports battery telemetry as
   * unavailable until the ADC path is physically calibrated.  Never inspect
   * the zero-value battery state as if it were a real low-voltage reading. */
  if (Battery_Update() == 0 && Battery_IsReady() && Battery_IsLowVoltage()) {
    Status_LowBatteryBeep();
    Status_SetLEDWarning();
  }
  /* USER CODE END battery_check_timer_callback */
}

/* IMU_read_timer_callback function */
__weak void IMU_read_timer_callback(void *argument)
{
}
